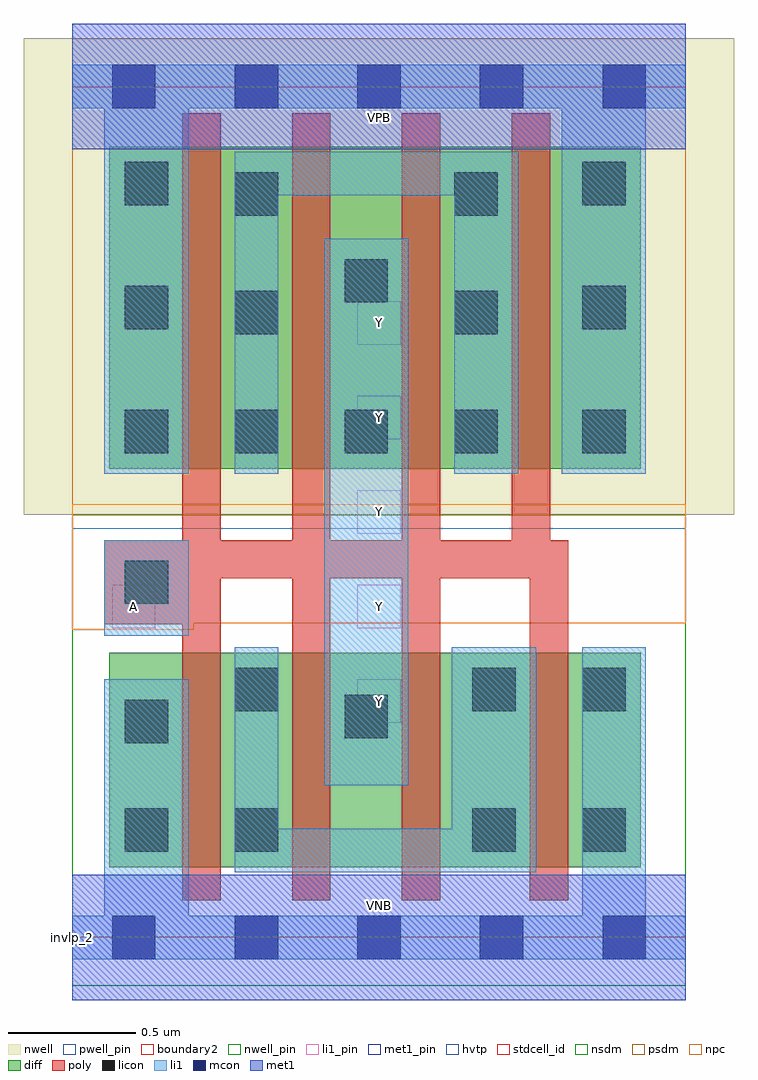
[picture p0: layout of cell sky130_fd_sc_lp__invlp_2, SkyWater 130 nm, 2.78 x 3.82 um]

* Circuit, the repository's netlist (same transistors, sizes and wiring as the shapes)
* Copyright 2020 The SkyWater PDK Authors
*
* Licensed under the Apache License, Version 2.0 (the "License");
* you may not use this file except in compliance with the License.
* You may obtain a copy of the License at
*
*     https://www.apache.org/licenses/LICENSE-2.0
*
* Unless required by applicable law or agreed to in writing, software
* distributed under the License is distributed on an "AS IS" BASIS,
* WITHOUT WARRANTIES OR CONDITIONS OF ANY KIND, either express or implied.
* See the License for the specific language governing permissions and
* limitations under the License.
*
* SPDX-License-Identifier: Apache-2.0

.SUBCKT sky130_fd_sc_lp__invlp_2 A VGND VNB VPB VPWR Y
*.PININFO A:I VGND:I VNB:I VPB:I VPWR:I Y:O
MMIP1 Y A net17 VPB sky130_fd_pr__pfet_01v8_hvt m=2 w=1.26U l=0.15U mult=1 sa=0.265
+ sb=0.265 sd=0.28 area=0.063 perim=1.14
MI5 net17 A VPWR VPB sky130_fd_pr__pfet_01v8_hvt m=2 w=1.26U l=0.15U mult=1 sa=0.265
+ sb=0.265 sd=0.28 area=0.063 perim=1.14
MMIN1 Y A net22 VNB sky130_fd_pr__nfet_01v8 m=2 w=0.84U l=0.15U mult=1 sa=0.265
+ sb=0.265 sd=0.28 area=0.063 perim=1.14
MI6 net22 A VGND VNB sky130_fd_pr__nfet_01v8 m=2 w=0.84U l=0.15U mult=1 sa=0.265
+ sb=0.265 sd=0.28 area=0.063 perim=1.14
.ENDS sky130_fd_sc_lp__invlp_2

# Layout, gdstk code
import gdstk
lib = gdstk.Library(unit=1e-6, precision=1e-09)
def R(c, l, rs):  # rectangles x0, y0, x1, y1
    for r in rs: c.add(gdstk.rectangle(r[:2], r[2:], *l))
def A(c, l, x, y, w, h, nx, ny, dx, dy):  # array of equal rectangles
    R(c, l, [(x+i*dx, y+j*dy, x+i*dx+w, y+j*dy+h) for i in range(nx) for j in range(ny)])
def P(c, l, *ps):  # polygons
    for p in ps: c.add(gdstk.Polygon(p, *l))
nwell_pin = (64, 16)
nwell = (64, 20)
diff = (65, 20)
poly = (66, 20)
licon = (66, 44)
li1_pin = (67, 16)
li1 = (67, 20)
mcon = (67, 44)
met1_pin = (68, 16)
met1 = (68, 20)
hvtp = (78, 44)
stdcell_id = (81, 4)
nsdm = (93, 44)
psdm = (94, 20)
npc = (95, 20)
pwell_pin = (122, 16)
boundary2 = (236, 0)

sky130_fd_sc_lp__invlp_2 = lib.new_cell('sky130_fd_sc_lp__invlp_2')
R(sky130_fd_sc_lp__invlp_2, nwell_pin, [(0,3.085,2.4,3.33)])
R(sky130_fd_sc_lp__invlp_2, nwell, [(-0.19,1.655,2.59,3.52)])
R(sky130_fd_sc_lp__invlp_2, diff, [(0.145,0.275,2.225,1.115), (0.145,1.835,2.225,3.095)])
P(sky130_fd_sc_lp__invlp_2, poly, [(1.94,1.555),(1.87,1.555),(1.87,3.225),(1.72,3.225),(1.72,1.555),(1.44,1.555),(1.44,3.225),(1.29,3.225),(1.29,1.555),(1.01,1.555),(1.01,3.225),(0.86,3.225),(0.86,1.555),(0.58,1.555),(0.58,3.225),(0.43,3.225),(0.43,1.555),(0.125,1.555),(0.125,1.225),(0.43,1.225),(0.43,0.145),(0.58,0.145),(0.58,1.405),(0.86,1.405),(0.86,0.145),(1.01,0.145),(1.01,1.405),(1.29,1.405),(1.29,0.145),(1.44,0.145),(1.44,1.405),(1.79,1.405),(1.79,0.145),(1.94,0.145)])
A(sky130_fd_sc_lp__invlp_2, licon, 0.205, 1.895, 0.17, 0.17, 4, 1, 0.43, 0)
A(sky130_fd_sc_lp__invlp_2, licon, 1.995, 1.895, 0.17, 0.17, 1, 3, 0, 0.485)
R(sky130_fd_sc_lp__invlp_2, licon, [(0.205,0.335,0.375,0.505), (0.635,0.335,0.805,0.505), (1.565,0.335,1.735,0.505), (1.995,0.335,2.165,0.505), (0.205,0.76,0.375,0.93), (1.065,0.78,1.235,0.95), (0.635,0.885,0.805,1.055), (1.565,0.885,1.735,1.055), (1.995,0.885,2.165,1.055), (0.205,1.305,0.375,1.475), (0.635,2.36,0.805,2.53), (1.495,2.36,1.665,2.53), (0.205,2.38,0.375,2.55), (1.065,2.485,1.235,2.655), (0.635,2.825,0.805,2.995), (1.495,2.825,1.665,2.995), (0.205,2.865,0.375,3.035)])
A(sky130_fd_sc_lp__invlp_2, li1_pin, 1.115, 0.84, 0.17, 0.17, 1, 5, 0, 0.37)
R(sky130_fd_sc_lp__invlp_2, li1_pin, [(0.155,1.21,0.325,1.38)])
R(sky130_fd_sc_lp__invlp_2, li1, [(0.985,0.595,1.315,2.735), (0.125,1.18,0.455,1.555)])
P(sky130_fd_sc_lp__invlp_2, li1, [(0.125,1.815),(0.125,3.245),(0,3.245),(0,3.415),(2.4,3.415),(2.4,3.245),(2.245,3.245),(2.245,1.815),(1.915,1.815),(1.915,3.245),(0.455,3.245),(0.455,1.815)],
  [(0.125,0.085),(0.125,1.01),(0.455,1.01),(0.455,0.085),(1.995,0.085),(1.995,1.135),(2.245,1.135),(2.245,0.085),(2.4,0.085),(2.4,-0.085),(0,-0.085),(0,0.085)],
  [(1.495,1.815),(1.495,2.905),(0.805,2.905),(0.805,1.815),(0.635,1.815),(0.635,3.075),(1.745,3.075),(1.745,1.815)],
  [(1.485,0.425),(1.485,1.135),(1.815,1.135),(1.815,0.255),(0.635,0.255),(0.635,1.135),(0.805,1.135),(0.805,0.425)])
A(sky130_fd_sc_lp__invlp_2, mcon, 0.155, -0.085, 0.17, 0.17, 5, 2, 0.48, 3.33)
R(sky130_fd_sc_lp__invlp_2, met1_pin, [(0,0,2.4,0.245), (0,3.085,2.4,3.33)])
R(sky130_fd_sc_lp__invlp_2, met1, [(0,-0.245,2.4,0.245), (0,3.085,2.4,3.575)])
R(sky130_fd_sc_lp__invlp_2, hvtp, [(0,1.6,2.4,3.33)])
R(sky130_fd_sc_lp__invlp_2, stdcell_id, [(0,0,2.4,3.33)])
R(sky130_fd_sc_lp__invlp_2, nsdm, [(0,-0.19,2.4,1.655)])
R(sky130_fd_sc_lp__invlp_2, psdm, [(0,1.655,2.4,3.52)])
P(sky130_fd_sc_lp__invlp_2, npc, [(2.4,1.695),(0,1.695),(0,1.205),(0.475,1.205),(0.475,1.23),(2.4,1.23)])
R(sky130_fd_sc_lp__invlp_2, pwell_pin, [(0,0,2.4,0.245)])
R(sky130_fd_sc_lp__invlp_2, boundary2, [(0,0,2.4,3.33)])
sky130_fd_sc_lp__invlp_2.add(gdstk.Label('VNB', (1.2,0.123), layer=64, texttype=59))
sky130_fd_sc_lp__invlp_2.add(gdstk.Label('VPB', (1.2,3.208), layer=64, texttype=5))
sky130_fd_sc_lp__invlp_2.add(gdstk.Label('invlp_2', (0,0), layer=83, texttype=44))
sky130_fd_sc_lp__invlp_2.add(gdstk.Label('VPWR', (1.2,3.208), layer=68, texttype=5))
sky130_fd_sc_lp__invlp_2.add(gdstk.Label('VGND', (1.2,0.123), layer=68, texttype=5))
sky130_fd_sc_lp__invlp_2.add(gdstk.Label('Y', (1.2,0.925), layer=67, texttype=5))
sky130_fd_sc_lp__invlp_2.add(gdstk.Label('Y', (1.2,1.295), layer=67, texttype=5))
sky130_fd_sc_lp__invlp_2.add(gdstk.Label('Y', (1.2,1.665), layer=67, texttype=5))
sky130_fd_sc_lp__invlp_2.add(gdstk.Label('Y', (1.2,2.035), layer=67, texttype=5))
sky130_fd_sc_lp__invlp_2.add(gdstk.Label('Y', (1.2,2.405), layer=67, texttype=5))
sky130_fd_sc_lp__invlp_2.add(gdstk.Label('A', (0.24,1.295), layer=67, texttype=5))

lib.write_gds('sky130_fd_sc_lp__invlp_2.gds')
